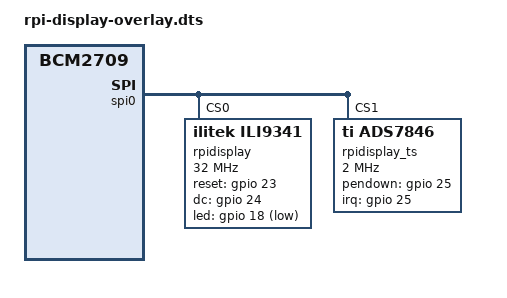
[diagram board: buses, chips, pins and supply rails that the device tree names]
/*
 * Device Tree overlay for rpi-display by Watterott
 *
 */

/dts-v1/;
/plugin/;

/ {
	compatible = "brcm,bcm2835", "brcm,bcm2708", "brcm,bcm2709";

	fragment@0 {
		target = <&spi0>;
		__overlay__ {
			status = "okay";

			spidev@0{
				status = "disabled";
			};

			spidev@1{
				status = "disabled";
			};
		};
	};

	fragment@1 {
		target = <&gpio>;
		__overlay__ {
			rpi_display_pins: rpi_display_pins {
				brcm,pins = <18 23 24 25>;
				brcm,function = <1 1 1 0>; /* out out out in */
			};
		};
	};

	fragment@2 {
		target = <&spi0>;
		__overlay__ {
			/* needed to avoid dtc warning */
			#address-cells = <1>;
			#size-cells = <0>;

			rpidisplay: rpi-display@0{
				compatible = "ilitek,ili9341";
				reg = <0>;
				pinctrl-names = "default";
				pinctrl-0 = <&rpi_display_pins>;

				spi-max-frequency = <32000000>;
				rotate = <270>;
				bgr;
				fps = <30>;
				buswidth = <8>;
				reset-gpios = <&gpio 23 0>;
				dc-gpios = <&gpio 24 0>;
				led-gpios = <&gpio 18 1>;
				debug = <0>;
			};

			rpidisplay_ts: rpi-display-ts@1 {
				compatible = "ti,ads7846";
				reg = <1>;

				spi-max-frequency = <2000000>;
				interrupts = <25 2>; /* high-to-low edge triggered */
				interrupt-parent = <&gpio>;
				pendown-gpio = <&gpio 25 0>;
				ti,x-plate-ohms = /bits/ 16 <60>;
				ti,pressure-max = /bits/ 16 <255>;
			};
		};
	};
	__overrides__ {
		speed =   <&rpidisplay>,"spi-max-frequency:0";
		rotate =  <&rpidisplay>,"rotate:0";
		fps =     <&rpidisplay>,"fps:0";
		debug =   <&rpidisplay>,"debug:0";
		xohms =   <&rpidisplay_ts>,"ti,x-plate-ohms;0";
	};
};
